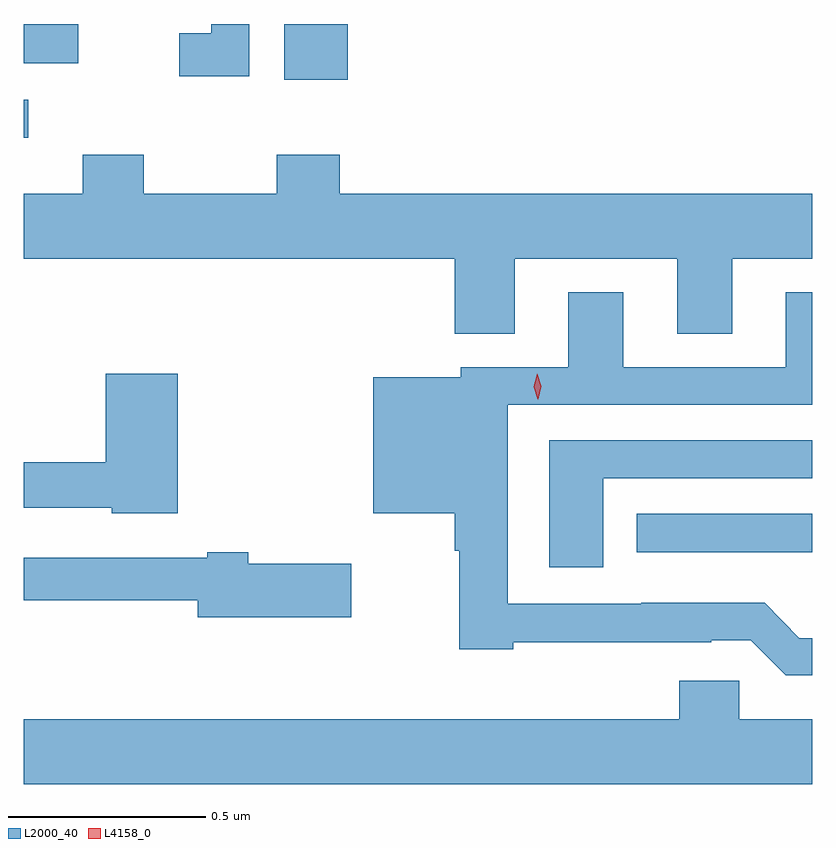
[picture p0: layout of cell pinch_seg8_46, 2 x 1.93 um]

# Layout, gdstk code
import gdstk
lib = gdstk.Library(unit=1e-6, precision=1e-09)
def R(c, l, rs):  # rectangles x0, y0, x1, y1
    for r in rs: c.add(gdstk.rectangle(r[:2], r[2:], *l))
def P(c, l, *ps):  # polygons
    for p in ps: c.add(gdstk.Polygon(p, *l))
L2000_40 = (2000, 40)
L4158_0 = (4158, 0)

pinch_seg8_46 = lib.new_cell('pinch_seg8_46')
R(pinch_seg8_46, L2000_40, [(983.417,1134.404,983.862,1134.501), (981.862,1135.454,981.874,1135.551), (982.523,1135.602,982.684,1135.743), (981.862,1135.644,982,1135.743)])
P(pinch_seg8_46, L2000_40, [(982.434,1135.743),(982.338,1135.743),(982.338,1135.719),(982.257,1135.719),(982.257,1135.611),(982.434,1135.611)],
  [(983.107,1135.148),(983.519,1135.148),(983.519,1134.958),(983.659,1134.958),(983.659,1135.148),(983.862,1135.148),(983.862,1135.312),(982.664,1135.312),(982.664,1135.411),(982.504,1135.411),(982.504,1135.312),(982.167,1135.312),(982.167,1135.411),(982.012,1135.411),(982.012,1135.312),(981.862,1135.312),(981.862,1135.148),(982.955,1135.148),(982.955,1134.958),(983.107,1134.958)],
  [(983.862,1134.186),(983.829,1134.186),(983.741,1134.275),(983.428,1134.275),(983.428,1134.273),(983.089,1134.273),(983.089,1134.777),(983.862,1134.777),(983.862,1135.063),(983.795,1135.063),(983.795,1134.873),(983.383,1134.873),(983.383,1135.063),(983.243,1135.063),(983.243,1134.873),(982.971,1134.873),(982.971,1134.847),(982.748,1134.847),(982.748,1134.503),(982.955,1134.503),(982.955,1134.407),(982.967,1134.407),(982.967,1134.158),(983.103,1134.158),(983.103,1134.176),(983.606,1134.176),(983.606,1134.18),(983.706,1134.18),(983.794,1134.092),(983.862,1134.092)],
  [(982.253,1134.856),(982.07,1134.856),(982.07,1134.632),(981.862,1134.632),(981.862,1134.516),(982.086,1134.516),(982.086,1134.503),(982.253,1134.503)],
  [(983.332,1134.591),(983.862,1134.591),(983.862,1134.687),(983.195,1134.687),(983.195,1134.366),(983.332,1134.366)],
  [(982.693,1134.374),(982.432,1134.374),(982.432,1134.403),(982.328,1134.403),(982.328,1134.39),(981.862,1134.39),(981.862,1134.282),(982.304,1134.282),(982.304,1134.239),(982.693,1134.239)],
  [(983.862,1133.98),(983.676,1133.98),(983.676,1134.078),(983.525,1134.078),(983.525,1133.98),(981.862,1133.98),(981.862,1133.816),(983.862,1133.816)])
P(pinch_seg8_46, L4158_0, [(983.166,1134.791),(983.166,1134.791),(983.155,1134.823),(983.164,1134.856),(983.164,1134.856),(983.164,1134.856),(983.175,1134.824),(983.167,1134.791)])

lib.write_gds('pinch_seg8_46.gds')
